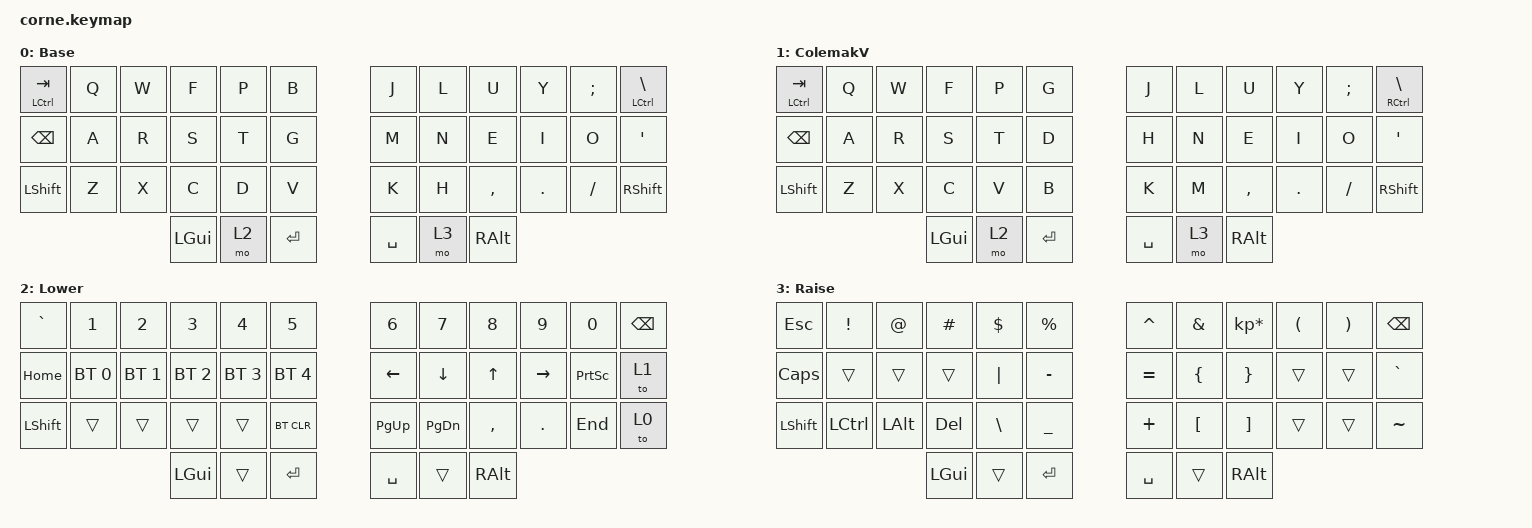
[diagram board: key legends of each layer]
/*
 * Copyright (c) 2020 The ZMK Contributors
 *
 * SPDX-License-Identifier: MIT
 */

#include <behaviors.dtsi>
#include <dt-bindings/zmk/bt.h>
#include <dt-bindings/zmk/keys.h>

/ {
    keymap {
        compatible = "zmk,keymap";

        default_layer {
            // -----------------------------------------------------------------------------------------
            // |  TAB |  Q  |  W  |  E  |  R  |  T  |   |  Y  |  U   |  I  |  O  |  P  | BKSP |
            // | CTRL |  A  |  S  |  D  |  F  |  G  |   |  H  |  J   |  K  |  L  |  ;  |  '   |
            // | SHFT |  Z  |  X  |  C  |  V  |  B  |   |  N  |  M   |  ,  |  .  |  /  | ESC  |
            //                    | GUI | LWR | SPC |   | ENT | RSE  | ALT |

            display-name = "Base";
            bindings = <
&mt LCTRL TAB  &kp Q  &kp W  &kp F     &kp P  &kp B        &kp J      &kp L  &kp U      &kp Y    &kp SEMICOLON  &mt LCTRL BACKSLASH
&kp BACKSPACE  &kp A  &kp R  &kp S     &kp T  &kp G        &kp M      &kp N  &kp E      &kp I    &kp O          &kp SQT
&kp LSHFT      &kp Z  &kp X  &kp C     &kp D  &kp V        &kp K      &kp H  &kp COMMA  &kp DOT  &kp FSLH       &kp RIGHT_SHIFT
                             &kp LGUI  &mo 2  &kp ENTER    &kp SPACE  &mo 3  &kp RALT
            >;
        };

        ColemakV {
            bindings = <
&mt LCTRL TAB  &kp Q  &kp W  &kp F     &kp P  &kp G        &kp J      &kp L  &kp U      &kp Y    &kp SEMI  &mt RCTRL BACKSLASH
&kp BSPC       &kp A  &kp R  &kp S     &kp T  &kp D        &kp H      &kp N  &kp E      &kp I    &kp O     &kp APOS
&kp LSHFT      &kp Z  &kp X  &kp C     &kp V  &kp B        &kp K      &kp M  &kp COMMA  &kp DOT  &kp FSLH  &kp RSHFT
                             &kp LGUI  &mo 2  &kp ENTER    &kp SPACE  &mo 3  &kp RALT
            >;
        };

        lower_layer {
            // -----------------------------------------------------------------------------------------
            // |  TAB |  1  |  2  |  3  |  4  |  5  |   |  6  |  7  |  8  |  9  |  0  | BKSP |
            // | BTCLR| BT1 | BT2 | BT3 | BT4 | BT5 |   | LFT | DWN |  UP | RGT |     |      |
            // | SHFT |     |     |     |     |     |   |     |     |     |     |     |      |
            //                    | GUI |     | SPC |   | ENT |     | ALT |

            display-name = "Lower";
            bindings = <
&kp GRAVE  &kp N1        &kp N2        &kp N3        &kp N4        &kp N5          &kp N6       &kp N7         &kp N8     &kp N9      &kp N0           &kp BSPC
&kp HOME   &bt BT_SEL 0  &bt BT_SEL 1  &bt BT_SEL 2  &bt BT_SEL 3  &bt BT_SEL 4    &kp LEFT     &kp DOWN       &kp UP     &kp RIGHT   &kp PRINTSCREEN  &to 1
&kp LSHFT  &trans        &trans        &trans        &trans        &bt BT_CLR      &kp PAGE_UP  &kp PAGE_DOWN  &kp COMMA  &kp PERIOD  &kp END          &to 0
                                       &kp LGUI      &trans        &kp ENTER       &kp SPACE    &trans         &kp RALT
            >;
        };

        raise_layer {
            // -----------------------------------------------------------------------------------------
            // |  TAB |  !  |  @  |  #  |  $  |  %  |   |  ^  |  &  |  *  |  (  |  )  | BKSP |
            // | CTRL |     |     |     |     |     |   |  -  |  =  |  [  |  ]  |  \  |  `   |
            // | SHFT |     |     |     |     |     |   |  _  |  +  |  {  |  }  | "|" |  ~   |
            //                    | GUI |     | SPC |   | ENT |     | ALT |

            display-name = "Raise";
            bindings = <
&kp ESC       &kp EXCL   &kp AT        &kp HASH    &kp DLLR       &kp PRCNT         &kp CARET  &kp AMPS          &kp KP_MULTIPLY    &kp LPAR  &kp RPAR  &kp BSPC
&kp CAPSLOCK  &trans     &trans        &trans      &kp PIPE       &kp MINUS         &kp EQUAL  &kp LEFT_BRACE    &kp RIGHT_BRACE    &trans    &trans    &kp GRAVE
&kp LSHFT     &kp LCTRL  &kp LEFT_ALT  &kp DELETE  &kp BACKSLASH  &kp UNDERSCORE    &kp PLUS   &kp LEFT_BRACKET  &kp RIGHT_BRACKET  &trans    &trans    &kp TILDE
                                       &kp LGUI    &trans         &kp ENTER         &kp SPACE  &trans            &kp RALT
            >;
        };
    };
};
